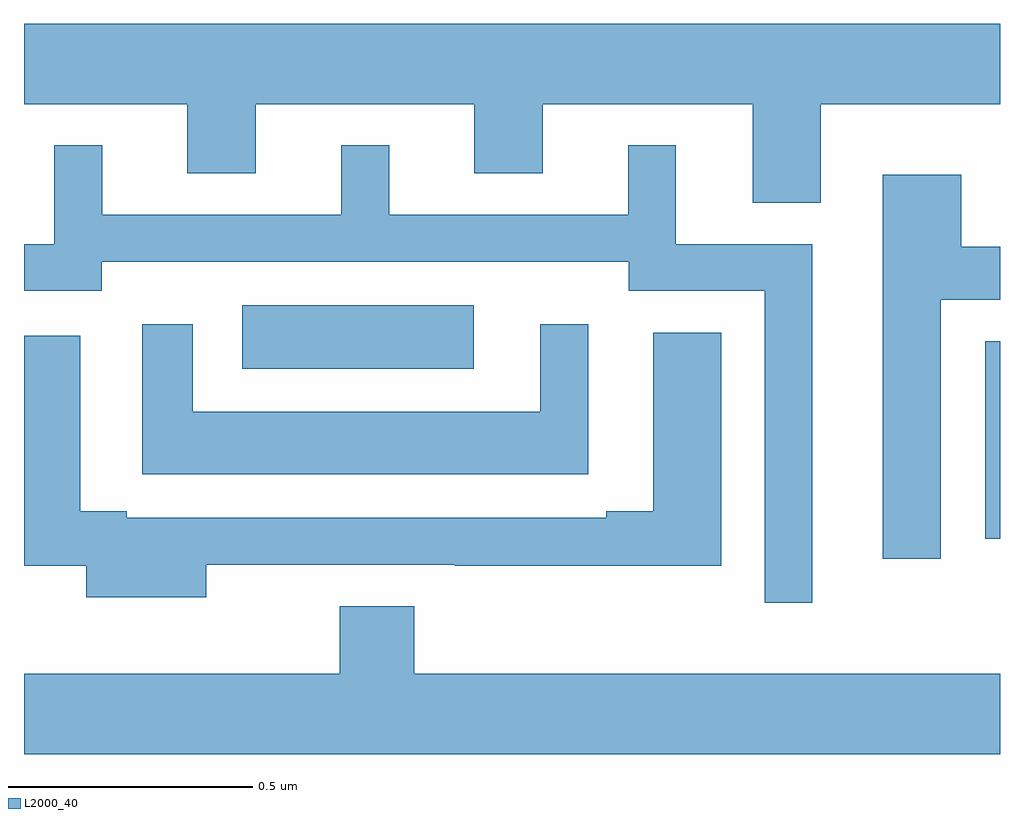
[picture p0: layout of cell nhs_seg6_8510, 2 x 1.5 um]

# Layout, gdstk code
import gdstk
lib = gdstk.Library(unit=1e-6, precision=1e-09)
def R(c, l, rs):  # rectangles x0, y0, x1, y1
    for r in rs: c.add(gdstk.rectangle(r[:2], r[2:], *l))
def P(c, l, *ps):  # polygons
    for p in ps: c.add(gdstk.Polygon(p, *l))
L2000_40 = (2000, 40)

nhs_seg6_8510 = lib.new_cell('nhs_seg6_8510')
R(nhs_seg6_8510, L2000_40, [(223.97,946.445,224,946.85), (222.447,946.793,222.922,946.924)])
P(nhs_seg6_8510, L2000_40, [(223.633,947.336),(224,947.336),(224,947.5),(222,947.5),(222,947.336),(222.335,947.336),(222.335,947.194),(222.475,947.194),(222.475,947.336),(222.923,947.336),(222.923,947.194),(223.063,947.194),(223.063,947.336),(223.493,947.336),(223.493,947.134),(223.633,947.134)],
  [(223.615,947.049),(223.336,947.049),(223.336,947.251),(223.238,947.251),(223.238,947.109),(222.748,947.109),(222.748,947.251),(222.65,947.251),(222.65,947.109),(222.16,947.109),(222.16,947.251),(222.062,947.251),(222.062,947.049),(222,947.049),(222,946.953),(222.159,946.953),(222.159,947.013),(223.239,947.013),(223.239,946.953),(223.518,946.953),(223.518,946.314),(223.615,946.314)],
  [(223.879,946.935),(224,946.935),(224,947.044),(223.921,947.044),(223.921,947.191),(223.76,947.191),(223.76,946.404),(223.879,946.404)],
  [(223.156,946.885),(223.058,946.885),(223.058,946.705),(222.346,946.705),(222.346,946.885),(222.242,946.885),(222.242,946.577),(223.156,946.577)],
  [(222.373,946.392),(222.883,946.392),(222.883,946.39),(223.429,946.39),(223.429,946.867),(223.289,946.867),(223.289,946.501),(223.193,946.501),(223.193,946.488),(222.211,946.488),(222.211,946.501),(222.115,946.501),(222.115,946.861),(222,946.861),(222,946.39),(222.128,946.39),(222.128,946.325),(222.373,946.325)],
  [(224,946.168),(222.8,946.168),(222.8,946.307),(222.647,946.307),(222.647,946.168),(222,946.168),(222,946.004),(224,946.004)])

lib.write_gds('nhs_seg6_8510.gds')
